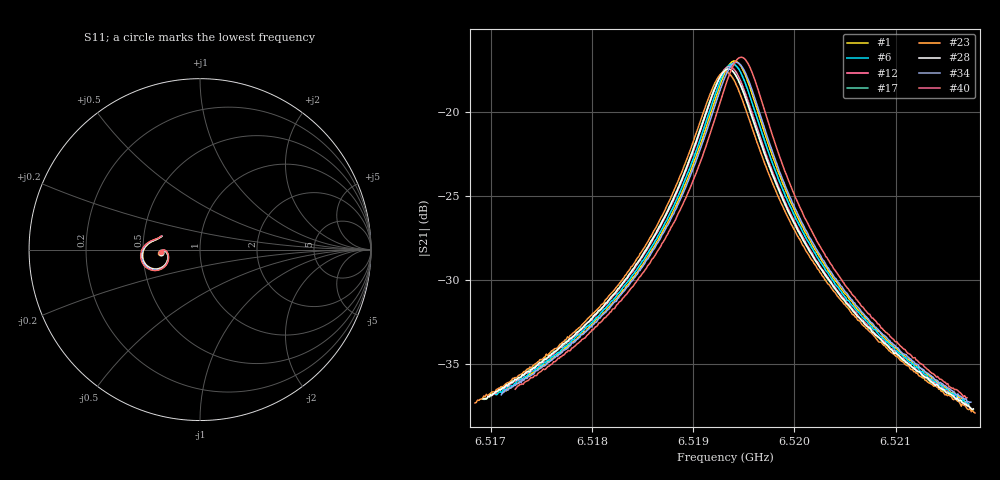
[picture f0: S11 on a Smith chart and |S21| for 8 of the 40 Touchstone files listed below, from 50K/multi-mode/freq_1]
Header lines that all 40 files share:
#  HZ  S  RI  R  50.00
! Rohde & Schwarz Vector Network Analyzer
! Rohde-Schwarz,ZNB20-2Port,1311601062101988,3.16
! freq[Hz]  re:S11  im:S11  re:S21  im:S21  re:S12  im:S12  re:S22  im:S22
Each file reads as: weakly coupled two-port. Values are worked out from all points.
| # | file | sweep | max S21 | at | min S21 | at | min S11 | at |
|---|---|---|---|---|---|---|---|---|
| 1 | 21_1_48.1046_50.1319466_11146.245_.s2p | 6.517118 GHz to 6.521701 GHz | -16.94 dB | 6.51941 GHz | -37.2 dB | 6.52169 GHz | -14.4 dB | 6.518997 GHz |
| 2 | 23_1_48.0995_50.1305046_12307.57_.s2p | 6.517108 GHz to 6.521707 GHz | -16.98 dB | 6.519408 GHz | -37.3 dB | 6.521707 GHz | -14.4 dB | 6.518994 GHz |
| 3 | 30_1_48.0992_50.1272125_16601.727_.s2p | 6.517096 GHz to 6.521707 GHz | -17.01 dB | 6.519401 GHz | -37.3 dB | 6.521707 GHz | -14.4 dB | 6.518998 GHz |
| 4 | 37_1_48.0973_50.1219711_21255.961_.s2p | 6.517082 GHz to 6.521708 GHz | -17.02 dB | 6.519395 GHz | -37.3 dB | 6.521708 GHz | -14.4 dB | 6.518978 GHz |
| 5 | 41_1_48.0988_50.118557_23537.746_.s2p | 6.517072 GHz to 6.521712 GHz | -17.05 dB | 6.519392 GHz | -37.4 dB | 6.521712 GHz | -14.4 dB | 6.518974 GHz |
| 6 | 48_1_48.0999_50.1119537_28032.246_.s2p | 6.51705 GHz to 6.521723 GHz | -17.11 dB | 6.519387 GHz | -37.4 dB | 6.521723 GHz | -14.4 dB | 6.518954 GHz |
| 7 | 49_1_48.1015_50.111454_28572.637_.s2p | 6.517047 GHz to 6.521725 GHz | -17.13 dB | 6.519386 GHz | -37.4 dB | 6.521725 GHz | -14.4 dB | 6.518965 GHz |
| 8 | 54_1_48.1024_50.1059074_31715.559_.s2p | 6.517042 GHz to 6.521722 GHz | -17.11 dB | 6.519393 GHz | -37.4 dB | 6.521722 GHz | -14.4 dB | 6.518961 GHz |
| 9 | 56_1_48.095_50.1056824_32848.633_.s2p | 6.51704 GHz to 6.52172 GHz | -17.10 dB | 6.51938 GHz | -37.4 dB | 6.52172 GHz | -14.4 dB | 6.518971 GHz |
| 10 | 84_1_48.0982_50.0778351_49763.578_.s2p | 6.516977 GHz to 6.521742 GHz | -17.25 dB | 6.519359 GHz | -37.5 dB | 6.52173 GHz | -14.4 dB | 6.51893 GHz |
| 11 | 87_1_48.0993_50.0753326_51499.379_.s2p | 6.516976 GHz to 6.521739 GHz | -17.25 dB | 6.519357 GHz | -37.6 dB | 6.521739 GHz | -14.4 dB | 6.518917 GHz |
| 12 | 88_1_48.0993_50.0748787_52091.34_.s2p | 6.516973 GHz to 6.521741 GHz | -17.27 dB | 6.519357 GHz | -37.6 dB | 6.521741 GHz | -14.4 dB | 6.518928 GHz |
| 13 | 96_1_48.1034_50.0697556_56926.48_.s2p | 6.516944 GHz to 6.52176 GHz | -17.32 dB | 6.519352 GHz | -37.6 dB | 6.52176 GHz | -14.4 dB | 6.518931 GHz |
| 14 | 99_1_48.099_50.065239_58641.738_.s2p | 6.516946 GHz to 6.521755 GHz | -17.35 dB | 6.51935 GHz | -37.7 dB | 6.521755 GHz | -14.4 dB | 6.51893 GHz |
| 15 | 102_1_48.0979_50.0619774_60388.32_.s2p | 6.516932 GHz to 6.521763 GHz | -17.37 dB | 6.519348 GHz | -37.7 dB | 6.521763 GHz | -14.4 dB | 6.518937 GHz |
| 16 | 104_1_48.0998_50.0605392_61793.016_.s2p | 6.516932 GHz to 6.521761 GHz | -17.39 dB | 6.519347 GHz | -37.7 dB | 6.521761 GHz | -14.4 dB | 6.518912 GHz |
| 17 | 106_1_48.0993_50.0581932_62946.668_.s2p | 6.516925 GHz to 6.521765 GHz | -17.41 dB | 6.519345 GHz | -37.7 dB | 6.521765 GHz | -14.4 dB | 6.51891 GHz |
| 18 | 112_1_48.0967_50.0547447_66418.883_.s2p | 6.516908 GHz to 6.521774 GHz | -17.45 dB | 6.519341 GHz | -37.7 dB | 6.521774 GHz | -14.4 dB | 6.518915 GHz |
| 19 | 114_1_48.0992_50.0525475_67859.641_.s2p | 6.516898 GHz to 6.52178 GHz | -17.46 dB | 6.519339 GHz | -37.8 dB | 6.521768 GHz | -14.4 dB | 6.5189 GHz |
| 20 | 137_1_48.1022_50.0297203_81697.172_.s2p | 6.516838 GHz to 6.521803 GHz | -17.60 dB | 6.51932 GHz | -37.9 dB | 6.52179 GHz | -14.3 dB | 6.518873 GHz |
| 21 | 138_1_48.0994_50.0278244_82261.164_.s2p | 6.516833 GHz to 6.521805 GHz | -17.61 dB | 6.519332 GHz | -38.0 dB | 6.521805 GHz | -14.3 dB | 6.518884 GHz |
| 22 | 146_1_48.0988_50.0223656_87169.273_.s2p | 6.516814 GHz to 6.521809 GHz | -17.65 dB | 6.519312 GHz | -38.0 dB | 6.521809 GHz | -14.3 dB | 6.518862 GHz |
| 23 | 164_1_48.1022_50.0279198_82773.531_.s2p | 6.516846 GHz to 6.521784 GHz | -17.57 dB | 6.519315 GHz | -37.9 dB | 6.521784 GHz | -14.3 dB | 6.518883 GHz |
| 24 | 173_1_48.1003_50.0387878_77350.719_.s2p | 6.516858 GHz to 6.521788 GHz | -17.53 dB | 6.519323 GHz | -37.9 dB | 6.521776 GHz | -14.3 dB | 6.518867 GHz |
| 25 | 174_1_48.1011_50.0400734_76780.75_.s2p | 6.516862 GHz to 6.521786 GHz | -17.51 dB | 6.519324 GHz | -37.9 dB | 6.521786 GHz | -14.3 dB | 6.518893 GHz |
| 26 | 176_1_48.0972_50.0423508_75622.273_.s2p | 6.516872 GHz to 6.521781 GHz | -17.51 dB | 6.519326 GHz | -37.9 dB | 6.521781 GHz | -14.4 dB | 6.518885 GHz |
| 27 | 179_1_48.0982_50.0457573_73904.625_.s2p | 6.516878 GHz to 6.521781 GHz | -17.50 dB | 6.51933 GHz | -37.8 dB | 6.521781 GHz | -14.4 dB | 6.518888 GHz |
| 28 | 194_1_48.1021_50.0611038_64796.727_.s2p | 6.516926 GHz to 6.521769 GHz | -17.42 dB | 6.519347 GHz | -37.7 dB | 6.521756 GHz | -14.4 dB | 6.518912 GHz |
| 29 | 203_1_48.1024_50.0749168_59363.453_.s2p | 6.516943 GHz to 6.521776 GHz | -17.36 dB | 6.519359 GHz | -37.7 dB | 6.521776 GHz | -14.4 dB | 6.518936 GHz |
| 30 | 214_1_48.1023_50.0883827_52822.516_.s2p | 6.51698 GHz to 6.521769 GHz | -17.30 dB | 6.519374 GHz | -37.6 dB | 6.521769 GHz | -14.4 dB | 6.518955 GHz |
| 31 | 221_1_48.0975_50.0957718_48807.949_.s2p | 6.517003 GHz to 6.521762 GHz | -17.26 dB | 6.519383 GHz | -37.5 dB | 6.521762 GHz | -14.4 dB | 6.518966 GHz |
| 32 | 227_1_48.1024_50.1026077_45052.316_.s2p | 6.517018 GHz to 6.521761 GHz | -17.23 dB | 6.51939 GHz | -37.5 dB | 6.521749 GHz | -14.4 dB | 6.518975 GHz |
| 33 | 231_1_48.1043_50.1090622_42785.609_.s2p | 6.517029 GHz to 6.521759 GHz | -17.20 dB | 6.519394 GHz | -37.5 dB | 6.521747 GHz | -14.4 dB | 6.518957 GHz |
| 34 | 256_1_48.1006_50.1387253_27635.416_.s2p | 6.517106 GHz to 6.521743 GHz | -17.01 dB | 6.519424 GHz | -37.3 dB | 6.521731 GHz | -14.5 dB | 6.519019 GHz |
| 35 | 263_1_48.0995_50.1483536_23401.07_.s2p | 6.517133 GHz to 6.521731 GHz | -16.96 dB | 6.519432 GHz | -37.3 dB | 6.521731 GHz | -14.5 dB | 6.519018 GHz |
| 36 | 271_1_48.1011_50.1533966_18797.039_.s2p | 6.517162 GHz to 6.521722 GHz | -16.89 dB | 6.519442 GHz | -37.2 dB | 6.521722 GHz | -14.5 dB | 6.519032 GHz |
| 37 | 285_1_48.099_50.1657333_10261.783_.s2p | 6.517214 GHz to 6.521702 GHz | -16.75 dB | 6.519458 GHz | -37.0 dB | 6.521702 GHz | -14.5 dB | 6.519043 GHz |
| 38 | 288_1_48.0996_50.1677094_8571.496_.s2p | 6.517224 GHz to 6.521699 GHz | -16.73 dB | 6.519461 GHz | -37.0 dB | 6.521699 GHz | -14.5 dB | 6.519059 GHz |
| 39 | 294_1_48.1025_50.1670723_4861.915_.s2p | 6.517235 GHz to 6.521703 GHz | -16.71 dB | 6.519469 GHz | -37.0 dB | 6.521692 GHz | -14.5 dB | 6.519067 GHz |
| 40 | 297_1_48.0951_50.1690483_3151.32_.s2p | 6.517243 GHz to 6.521704 GHz | -16.72 dB | 6.519474 GHz | -37.0 dB | 6.521704 GHz | -14.5 dB | 6.519072 GHz |
